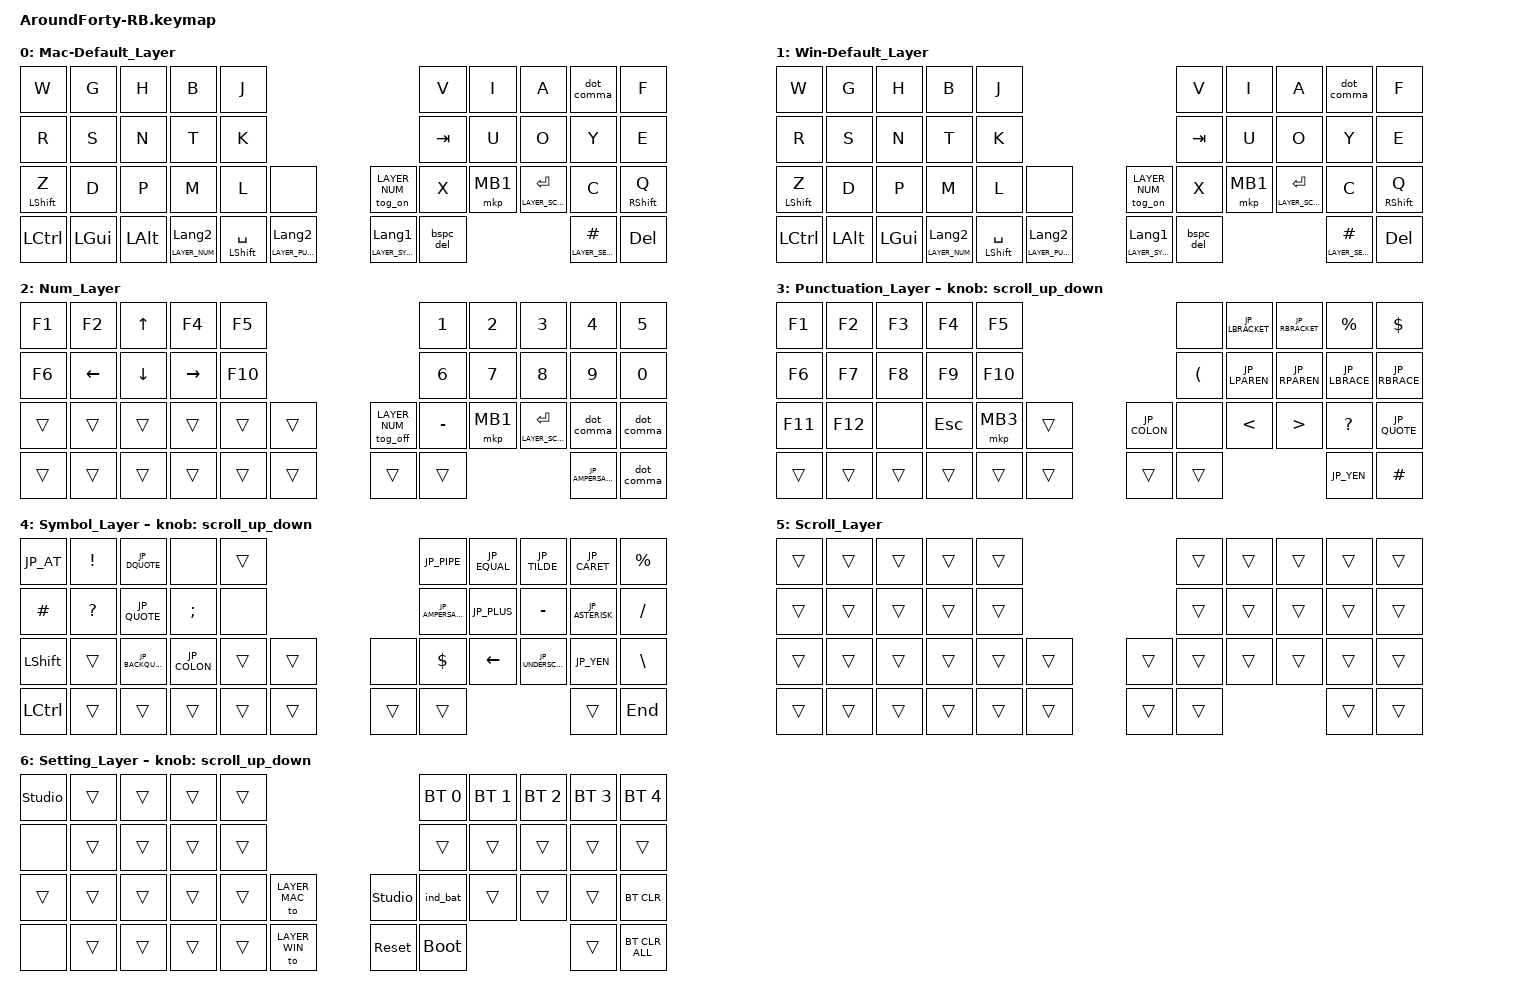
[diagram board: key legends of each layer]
#define ZMK_POINTING_DEFAULT_SCRL_VAL 100

/* レイヤー定義 */
#define LAYER_MAC        0
#define LAYER_WIN        1
#define LAYER_NUM        2
#define LAYER_PUNCT      3
#define LAYER_SYMBOL     4
#define LAYER_SCROLL     5
#define LAYER_SETTING    6

#include <behaviors/rgbled_widget.dtsi>  // needed to use the behaviors
#include <behaviors.dtsi>
#include <dt-bindings/zmk/bt.h>
#include <dt-bindings/zmk/keys.h>
#include <dt-bindings/zmk/pointing.h>
#include <input/processors.dtsi>


/* モジュール化された設定・ヘッダー群 */
#include "includes/japanese.dtsi"

&mt {
    flavor = "tap-preferred";
    tapping-term-ms = <200>;
    quick-tap-ms = <150>;
};

/ {
    combos {
        compatible = "zmk,combos";

        /* 共通コンボ定義 */
        #include "includes/base_combos.dtsi"

    };

    macros {
        to_layer_0: to_layer_0 {
            compatible = "zmk,behavior-macro-one-param";
            #binding-cells = <1>;
            bindings = <&to LAYER_MAC &macro_param_1to1 &kp MACRO_PLACEHOLDER>;
            label = "TO_LAYER_0";
        };
    };

    behaviors {
        /* Shared on/off behaviors: keep the number-layer latch unchanged. */
        tog_on: toggle_layer_on_only {
            compatible = "zmk,behavior-toggle-layer";
            #binding-cells = <1>;
            display-name = "Toggle Layer On";
            toggle-mode = "on";
        };

        tog_off: toggle_layer_off_only {
            compatible = "zmk,behavior-toggle-layer";
            #binding-cells = <1>;
            display-name = "Toggle Layer Off";
            toggle-mode = "off";
        };

        lt_to_layer_0: lt_to_layer_0 {
            compatible = "zmk,behavior-hold-tap";
            label = "LAYER_TAP_TO_0";
            bindings = <&mo>, <&to_layer_0>;

            #binding-cells = <2>;
            tapping-term-ms = <200>;
        };

        bspc_del: backspace_delete {
            compatible = "zmk,behavior-mod-morph";
            #binding-cells = <0>;
            bindings = <&kp BACKSPACE>, <&kp DELETE>;
            mods = <(MOD_LSFT|MOD_RSFT)>;
        };

        dot_comma: period_comma {
            compatible = "zmk,behavior-mod-morph";
            #binding-cells = <0>;
            bindings = <&kp PERIOD>, <&kp COMMA>;
            mods = <(MOD_LSFT|MOD_RSFT)>;
        };

        /* Tap selects the host IME; hold keeps the existing symbol layer.
         * Preserve the former key's tap-preferred, 200 ms hold-tap timing.
         */
        ime_lt: ime_layer_tap {
            compatible = "zmk,behavior-hold-tap";
            #binding-cells = <2>;
            flavor = "tap-preferred";
            tapping-term-ms = <200>;
            bindings = <&mo>, <&kp>;
        };

        scroll_up_down: behavior_sensor_rotate_mouse_wheel_up_down {
            compatible = "zmk,behavior-sensor-rotate";
            #sensor-binding-cells = <0>;
            bindings = <&msc SCRL_UP>, <&msc SCRL_DOWN>;

            tap-ms = <20>;
        };
    };

    keymap {
        compatible = "zmk,keymap";

        Mac-Default_Layer { // 0: primary Romaji / English (Mac)
            bindings = <
&kp W             &kp G         &kp H         &kp B             &kp J             &kp V         &kp I       &kp A                     &dot_comma  &kp F
&kp R             &kp S         &kp N         &kp T             &kp K             &kp TAB       &kp U       &kp O                     &kp Y       &kp E
&mt LEFT_SHIFT Z  &kp D         &kp P         &kp M             &kp L     &none   &kp X         &mkp MB1    &lt LAYER_SCROLL ENTER    &kp C       &mt RIGHT_SHIFT Q
&kp LCTRL         &kp LEFT_GUI  &kp LEFT_ALT  &lt LAYER_NUM LANGUAGE_2   &mt LEFT_SHIFT SPACE  &lt LAYER_PUNCT LANGUAGE_2  &bspc_del  &tog_on LAYER_NUM  &ime_lt LAYER_SYMBOL LANGUAGE_1  &lt LAYER_SETTING HASH  &kp DELETE
            >;
        };

        Win-Default_Layer { // 1: primary Romaji / English (Windows)
            bindings = <
&kp W             &kp G         &kp H         &kp B             &kp J             &kp V         &kp I       &kp A                     &dot_comma  &kp F
&kp R             &kp S         &kp N         &kp T             &kp K             &kp TAB       &kp U       &kp O                     &kp Y       &kp E
&mt LEFT_SHIFT Z  &kp D         &kp P         &kp M             &kp L     &none   &kp X         &mkp MB1    &lt LAYER_SCROLL ENTER    &kp C       &mt RIGHT_SHIFT Q
&kp LCTRL         &kp LEFT_ALT  &kp LEFT_GUI  &lt LAYER_NUM LANGUAGE_2   &mt LEFT_SHIFT SPACE  &lt LAYER_PUNCT LANGUAGE_2  &bspc_del  &tog_on LAYER_NUM  &ime_lt LAYER_SYMBOL LANGUAGE_1  &lt LAYER_SETTING HASH  &kp DELETE
            >;
        };

        Num_Layer { // 2: original two-row number layout; pin/unpin at position 38
            bindings = <
&kp F1  &kp F2          &kp UP_ARROW    &kp F4           &kp F5           &kp N1     &kp N2                &kp N3                 &kp N4           &kp N5
&kp F6  &kp LEFT_ARROW  &kp DOWN_ARROW  &kp RIGHT_ARROW  &kp F10          &kp N6     &kp N7                &kp N8                 &kp N9           &kp N0
&trans  &trans          &trans         &trans          &trans  &trans  &kp MINUS  &mkp MB1              &lt LAYER_SCROLL ENTER  &dot_comma       &dot_comma
&trans  &trans          &trans         &trans          &trans  &trans  &trans     &tog_off LAYER_NUM    &trans                 &kp JP_AMPERSAND  &dot_comma
            >;
        };

        Punctuation_Layer { // 3: original Win-Function positions, shared by JIS hosts
            bindings = <
&kp F1   &kp F2   &kp F3  &kp F4      &kp F5           &none                 &kp JP_LBRACKET  &kp JP_RBRACKET    &kp PERCENT   &kp DOLLAR
&kp F6   &kp F7   &kp F8  &kp F9      &kp F10          &kp LEFT_PARENTHESIS  &kp JP_LPAREN    &kp JP_RPAREN      &kp JP_LBRACE  &kp JP_RBRACE
&kp F11  &kp F12  &none   &kp ESCAPE  &mkp MB3  &trans  &none                 &kp LESS_THAN    &kp GREATER_THAN   &kp QUESTION  &kp JP_QUOTE
&trans   &trans   &trans  &trans      &trans    &trans  &trans                &kp JP_COLON     &trans             &kp JP_YEN    &kp HASH
            >;

            sensor-bindings = <&scroll_up_down>;
        };

        Symbol_Layer { // 4: original Win-Common symbol positions, without OS shortcuts
            bindings = <
&kp JP_AT       &kp EXCLAMATION  &kp JP_DQUOTE     &none          &trans          &kp JP_PIPE       &kp JP_EQUAL    &kp JP_TILDE       &kp JP_CARET     &kp PERCENT
&kp HASH        &kp QUESTION     &kp JP_QUOTE      &kp SEMICOLON  &none           &kp JP_AMPERSAND  &kp JP_PLUS     &kp MINUS          &kp JP_ASTERISK  &kp SLASH
&kp LEFT_SHIFT  &trans           &kp JP_BACKQUOTE  &kp JP_COLON   &trans  &trans  &kp DOLLAR        &kp LEFT_ARROW  &kp JP_UNDERSCORE  &kp JP_YEN       &kp BACKSLASH
&kp LCTRL       &trans           &trans            &trans         &trans  &trans  &trans            &none           &trans             &trans           &kp END
            >;

            sensor-bindings = <&scroll_up_down>;
        };

        Scroll_Layer { // 5: Enter長押し中のみトラックボールをスクロール化
            bindings = <
&trans  &trans  &trans  &trans  &trans          &trans  &trans  &trans  &trans  &trans
&trans  &trans  &trans  &trans  &trans          &trans  &trans  &trans  &trans  &trans
&trans  &trans  &trans  &trans  &trans  &trans  &trans  &trans  &trans  &trans  &trans
&trans  &trans  &trans  &trans  &trans  &trans  &trans  &trans  &trans  &trans  &trans
            >;
        };

        Setting_Layer { // 6
            bindings = <
&studio_unlock     &trans  &trans  &trans  &trans                 &bt BT_SEL 0  &bt BT_SEL 1    &bt BT_SEL 2  &bt BT_SEL 3  &bt BT_SEL 4
&none              &trans  &trans  &trans  &trans                 &trans        &trans          &trans        &trans        &trans
&trans             &trans  &trans  &trans  &trans  &to LAYER_MAC  &ind_bat      &trans          &trans        &trans        &bt BT_CLR
&none              &trans  &trans  &trans  &trans  &to LAYER_WIN  &bootloader   &studio_unlock  &sys_reset    &trans        &bt BT_CLR_ALL
            >;

            sensor-bindings = <&scroll_up_down>;
        };
    };
};
